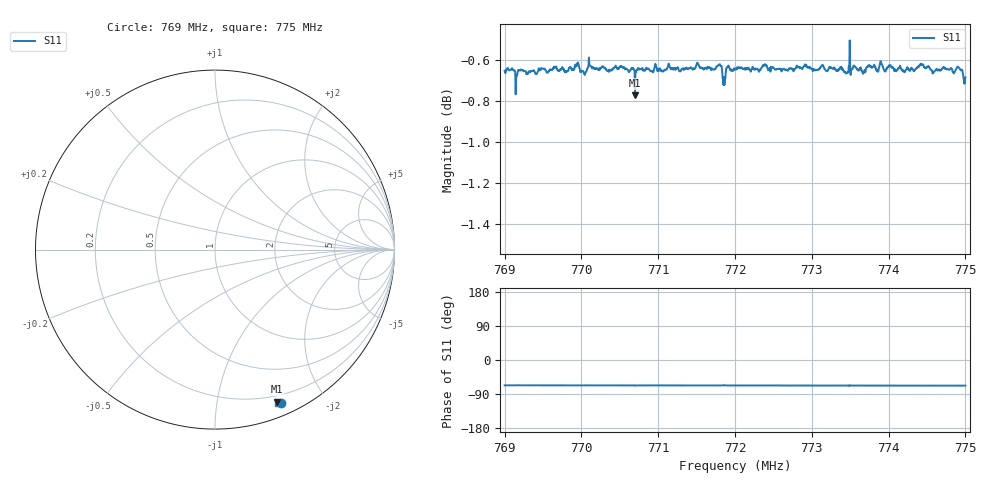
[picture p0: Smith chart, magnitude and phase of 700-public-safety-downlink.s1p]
! Calibrated averaged scanner-service zoom
# Hz S RI R 50
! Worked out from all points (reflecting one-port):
!   1001 points, 769 MHz to 775 MHz, reference 50 ohm
!   lowest |S11| = -0.8 dB at 770.698 MHz (marker M1), VSWR 22.53, Z = 7.09 - j73.9 ohm
!   phase of S11 starts at -67 deg and turns -1 deg over the sweep
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7.69e8  0.3655 -0.8525
7.69168e8  0.3668 -0.8509
7.6975e8  0.3634 -0.8555
7.69804e8  0.3638 -0.8531
7.69948e8  0.3614 -0.8586
7.70038e8  0.3627 -0.8517
7.70116e8  0.3636 -0.8561
7.705e8  0.3627 -0.8561
7.70698e8  0.3448 -0.8476
7.70968e8  0.3632 -0.8566
7.7125e8  0.3607 -0.8564
7.7152e8  0.3585 -0.8592
7.71718e8  0.3604 -0.8553
7.71796e8  0.3584 -0.859
7.71862e8  0.3617 -0.846
7.7191e8  0.3592 -0.8579
7.72e8  0.3583 -0.8565
7.723e8  0.3586 -0.8559
7.72384e8  0.3574 -0.859
7.7275e8  0.3566 -0.8573
7.72924e8  0.3577 -0.8582
7.73446e8  0.3551 -0.8553
7.735e8  0.3558 -0.8571
7.7425e8  0.3543 -0.8581
7.74424e8  0.3537 -0.8611
7.7458e8  0.3545 -0.8564
7.74922e8  0.3529 -0.8591
7.75e8  0.3517 -0.8546
